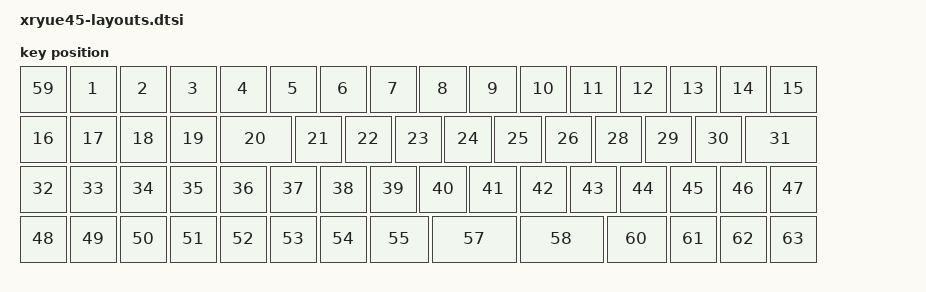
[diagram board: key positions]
#include <physical_layouts.dtsi>

/ {
    xryue45_layout: xryue45_layout0 {
        compatible = "zmk,physical-layout";
        display-name = "xryue45layout";

        //kscan = <&kscan0>;
        //transform = <&matrix_transform>;

         keys  //                     w   h    x    y     rot    rx    ry
            = <&key_physical_attrs 100 100    0    0       0     0     0>
            , <&key_physical_attrs 100 100  100    0       0     0     0>
            , <&key_physical_attrs 100 100  200    0       0     0     0>
            , <&key_physical_attrs 100 100  300    0       0     0     0>
            , <&key_physical_attrs 100 100  400    0       0     0     0>
            , <&key_physical_attrs 100 100  500    0       0     0     0>
            , <&key_physical_attrs 100 100  600    0       0     0     0>
            , <&key_physical_attrs 100 100  700    0       0     0     0>
            , <&key_physical_attrs 100 100  800    0       0     0     0>
            , <&key_physical_attrs 100 100  900    0       0     0     0>
            , <&key_physical_attrs 100 100 1000    0       0     0     0>
            , <&key_physical_attrs 100 100 1100    0       0     0     0>
            , <&key_physical_attrs 100 100 1200    0       0     0     0>
            , <&key_physical_attrs 100 100 1300    0       0     0     0>
            , <&key_physical_attrs 100 100 1400    0       0     0     0>
            , <&key_physical_attrs 100 100 1500    0       0     0     0>
            , <&key_physical_attrs 100 100    0  100       0     0     0>
            , <&key_physical_attrs 100 100  100  100       0     0     0>
            , <&key_physical_attrs 100 100  200  100       0     0     0>
            , <&key_physical_attrs 100 100  300  100       0     0     0>
            , <&key_physical_attrs 150 100  400  100       0     0     0>
            , <&key_physical_attrs 100 100  550  100       0     0     0>
            , <&key_physical_attrs 100 100  650  100       0     0     0>
            , <&key_physical_attrs 100 100  750  100       0     0     0>
            , <&key_physical_attrs 100 100  850  100       0     0     0>
            , <&key_physical_attrs 100 100  950  100       0     0     0>
            , <&key_physical_attrs 100 100 1050  100       0     0     0>
            , <&key_physical_attrs 100 100    0    0       0     0     0>
            , <&key_physical_attrs 100 100 1150  100       0     0     0>
            , <&key_physical_attrs 100 100 1250  100       0     0     0>
            , <&key_physical_attrs 100 100 1350  100       0     0     0>
            , <&key_physical_attrs 150 100 1450  100       0     0     0>
            , <&key_physical_attrs 100 100    0  200       0     0     0>
            , <&key_physical_attrs 100 100  100  200       0     0     0>
            , <&key_physical_attrs 100 100  200  200       0     0     0>
            , <&key_physical_attrs 100 100  300  200       0     0     0>
            , <&key_physical_attrs 100 100  400  200       0     0     0>
            , <&key_physical_attrs 100 100  500  200       0     0     0>
            , <&key_physical_attrs 100 100  600  200       0     0     0>
            , <&key_physical_attrs 100 100  700  200       0     0     0>
            , <&key_physical_attrs 100 100  800  200       0     0     0>
            , <&key_physical_attrs 100 100  900  200       0     0     0>
            , <&key_physical_attrs 100 100 1000  200       0     0     0>
            , <&key_physical_attrs 100 100 1100  200       0     0     0>
            , <&key_physical_attrs 100 100 1200  200       0     0     0>
            , <&key_physical_attrs 100 100 1300  200       0     0     0>
            , <&key_physical_attrs 100 100 1400  200       0     0     0>
            , <&key_physical_attrs 100 100 1500  200       0     0     0>
            , <&key_physical_attrs 100 100    0  300       0     0     0>
            , <&key_physical_attrs 100 100  100  300       0     0     0>
            , <&key_physical_attrs 100 100  200  300       0     0     0>
            , <&key_physical_attrs 100 100  300  300       0     0     0>
            , <&key_physical_attrs 100 100  400  300       0     0     0>
            , <&key_physical_attrs 100 100  500  300       0     0     0>
            , <&key_physical_attrs 100 100  600  300       0     0     0>
            , <&key_physical_attrs 125 100  700  300       0     0     0>
            , <&key_physical_attrs 100 100    0    0       0     0     0>
            , <&key_physical_attrs 175 100  825  300       0     0     0>
            , <&key_physical_attrs 175 100 1000  300       0     0     0>
            , <&key_physical_attrs 100 100    0    0       0     0     0>
            , <&key_physical_attrs 125 100 1175  300       0     0     0>
            , <&key_physical_attrs 100 100 1300  300       0     0     0>
            , <&key_physical_attrs 100 100 1400  300       0     0     0>
            , <&key_physical_attrs 100 100 1500  300       0     0     0>
            ;
    };
};
